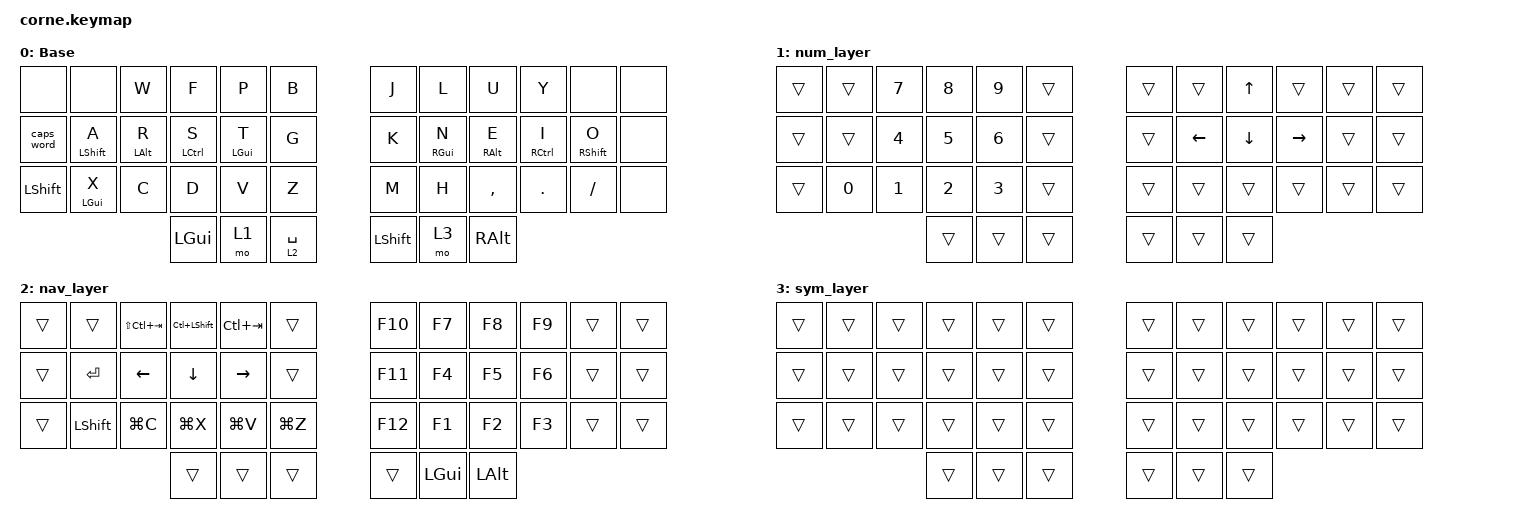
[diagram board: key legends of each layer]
/*
 * Copyright (c) 2020 The ZMK Contributors
 *
 * SPDX-License-Identifier: MIT
 */

#include <behaviors.dtsi>
#include <dt-bindings/zmk/keys.h>

/ {
    keymap {
        compatible = "zmk,keymap";

        default_layer {
            // -----------------------------------------------------------------------------------------
            // |  TAB |  Q  |  W  |  E  |  R  |  T  |   |  Y  |  U   |  I  |  O  |  P  | BKSP |
            // | CTRL |  A  |  S  |  D  |  F  |  G  |   |  H  |  J   |  K  |  L  |  ;  |  '   |
            // | SHFT |  Z  |  X  |  C  |  V  |  B  |   |  N  |  M   |  ,  |  .  |  /  | ESC  |
            //                    | GUI | LWR | SPC |   | ENT | RSE  | ALT |

            display-name = "Base";
            bindings = <
&none       &none             &kp W           &kp F               &kp P           &kp B          &kp J           &kp L            &kp U            &kp Y                &none              &none
&caps_word  &mt LEFT_SHIFT A  &mt LEFT_ALT R  &mt LEFT_CONTROL S  &mt LEFT_GUI T  &kp G          &kp K           &mt RIGHT_GUI N  &mt RIGHT_ALT E  &mt RIGHT_CONTROL I  &mt RIGHT_SHIFT O  &none
&kp LSHFT   &mt LEFT_GUI X    &kp C           &kp D               &kp V           &kp Z          &kp M           &kp H            &kp COMMA        &kp DOT              &kp FSLH           &none
                                              &kp LGUI            &mo 1           &lt 2 SPACE    &kp LEFT_SHIFT  &mo 3            &kp RALT
            >;
        };

        num_layer {
            bindings = <
&trans  &trans  &kp N7  &kp N8  &kp N9  &trans    &trans  &trans    &kp UP    &trans     &trans  &trans
&trans  &trans  &kp N4  &kp N5  &kp N6  &trans    &trans  &kp LEFT  &kp DOWN  &kp RIGHT  &trans  &trans
&trans  &kp N0  &kp N1  &kp N2  &kp N3  &trans    &trans  &trans    &trans    &trans     &trans  &trans
                        &trans  &trans  &trans    &trans  &trans    &trans
            >;
        };

        nav_layer {
            bindings = <
&trans  &trans     &kp LS(LC(TAB))  &kp LC(LSHFT)  &kp LC(TAB)  &trans       &kp F10  &kp F7    &kp F8    &kp F9  &trans  &trans
&trans  &kp RET    &kp LEFT         &kp DOWN       &kp RIGHT    &trans       &kp F11  &kp F4    &kp F5    &kp F6  &trans  &trans
&trans  &kp LSHFT  &kp LG(C)        &kp LG(X)      &kp LG(V)    &kp LG(Z)    &kp F12  &kp F1    &kp F2    &kp F3  &trans  &trans
                                    &trans         &trans       &trans       &trans   &kp LGUI  &kp LALT
            >;
        };

        sym_layer {
            bindings = <
&trans  &trans  &trans  &trans  &trans  &trans    &trans  &trans  &trans  &trans  &trans  &trans
&trans  &trans  &trans  &trans  &trans  &trans    &trans  &trans  &trans  &trans  &trans  &trans
&trans  &trans  &trans  &trans  &trans  &trans    &trans  &trans  &trans  &trans  &trans  &trans
                        &trans  &trans  &trans    &trans  &trans  &trans
            >;
        };
    };
};
